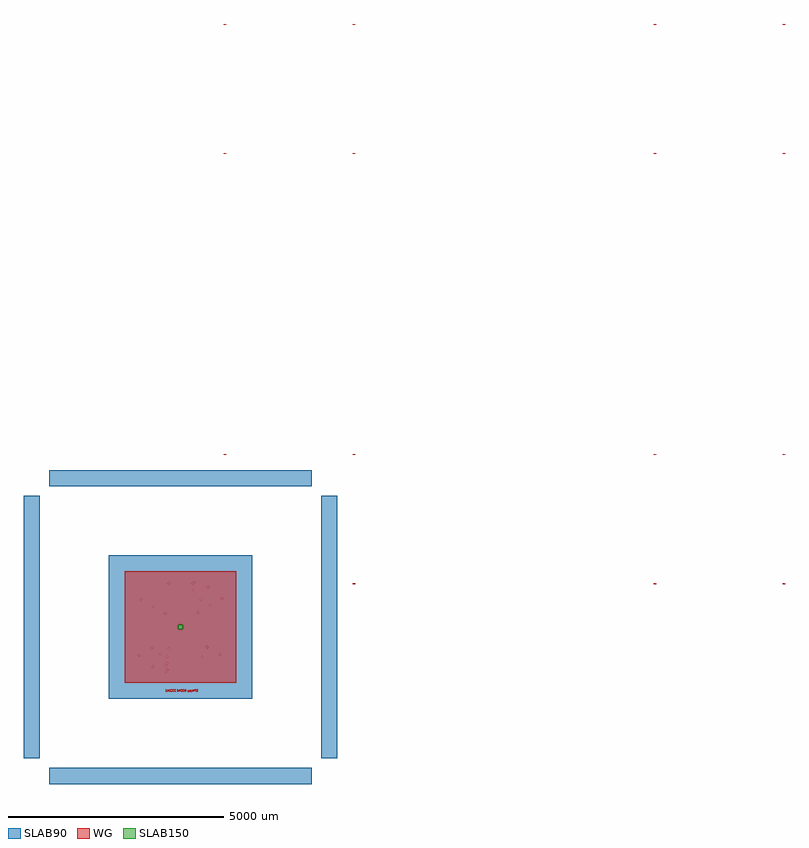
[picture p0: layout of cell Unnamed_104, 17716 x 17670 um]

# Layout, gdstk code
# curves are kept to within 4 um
import gdstk
lib = gdstk.Library(unit=1e-6, precision=1e-09)
def R(c, l, rs):  # rectangles x0, y0, x1, y1
    for r in rs: c.add(gdstk.rectangle(r[:2], r[2:], *l))
def A(c, l, x, y, w, h, nx, ny, dx, dy):  # array of equal rectangles
    R(c, l, [(x+i*dx, y+j*dy, x+i*dx+w, y+j*dy+h) for i in range(nx) for j in range(ny)])
def P(c, l, *ps):  # polygons
    for p in ps: c.add(gdstk.Polygon(p, *l))
WG = (1, 0)
SLAB150 = (2, 0)
SLAB90 = (3, 0)

text_tmdl4_s20_p0_0_jlef = lib.new_cell('text_TMDL4_S20_P0_0_Jleft_L1_0')
P(text_tmdl4_s20_p0_0_jlef, WG, [(36,0),(36,20),(40,20),(40,4),(50,4),(50,0)],
  [(20,0),(20,8),(24,8),(24,4),(28,4),(30,6),(30,14),(28,16),(24,16),(24,12),(20,12),(20,20),(30,20),(34,16),(34,4),(30,0)],
  [(60,0),(60,6),(52,6),(52,20),(56,20),(56,10),(60,10),(60,20),(64,20),(64,10),(66,10),(66,6),(64,6),(64,0)],
  [(2,0),(2,20),(6,20),(10,14),(14,20),(18,20),(18,0),(14,0),(14,12),(10,6),(6,12),(6,0)])

unnamed_118 = lib.new_cell('Unnamed_118')
unnamed_118.add(gdstk.Reference(text_tmdl4_s20_p0_0_jlef, (1000,1000)))
unnamed_118.add(gdstk.Reference(text_tmdl4_s20_p0_0_jlef, (4000,1000)))
unnamed_118.add(gdstk.Reference(text_tmdl4_s20_p0_0_jlef, (1000,4000)))
unnamed_118.add(gdstk.Reference(text_tmdl4_s20_p0_0_jlef, (4000,4000)))

text_tmdl3_s20_p0_0_jlef = lib.new_cell('text_TMDL3_S20_P0_0_Jleft_L1_0')
P(text_tmdl3_s20_p0_0_jlef, WG, [(36,0),(36,20),(40,20),(40,4),(50,4),(50,0)],
  [(20,0),(20,8),(24,8),(24,4),(28,4),(30,6),(30,14),(28,16),(24,16),(24,12),(20,12),(20,20),(30,20),(34,16),(34,4),(30,0)],
  [(56,0),(52,4),(52,6),(56,6),(58,4),(60,4),(62,6),(60,8),(60,12),(62,14),(60,16),(58,16),(56,14),(52,14),(52,16),(56,20),(62,20),(66,16),(66,12),(64,10),(66,8),(66,4),(62,0)],
  [(2,0),(2,20),(6,20),(10,14),(14,20),(18,20),(18,0),(14,0),(14,12),(10,6),(6,12),(6,0)])

unnamed_117 = lib.new_cell('Unnamed_117')
unnamed_117.add(gdstk.Reference(text_tmdl3_s20_p0_0_jlef, (1000,1000)))
unnamed_117.add(gdstk.Reference(text_tmdl3_s20_p0_0_jlef, (4000,1000)))
unnamed_117.add(gdstk.Reference(text_tmdl3_s20_p0_0_jlef, (1000,4000)))
unnamed_117.add(gdstk.Reference(text_tmdl3_s20_p0_0_jlef, (4000,4000)))

text_tmdl2_s20_p0_0_jlef = lib.new_cell('text_TMDL2_S20_P0_0_Jleft_L1_0')
P(text_tmdl2_s20_p0_0_jlef, WG, [(36,0),(36,20),(40,20),(40,4),(50,4),(50,0)],
  [(52,0),(52,4),(62,14),(62,16),(56,16),(56,14),(52,14),(52,18),(54,20),(64,20),(66,18),(66,12),(58,4),(66,4),(66,0)],
  [(20,0),(20,8),(24,8),(24,4),(28,4),(30,6),(30,14),(28,16),(24,16),(24,12),(20,12),(20,20),(30,20),(34,16),(34,4),(30,0)],
  [(2,0),(2,20),(6,20),(10,14),(14,20),(18,20),(18,0),(14,0),(14,12),(10,6),(6,12),(6,0)])

unnamed_116 = lib.new_cell('Unnamed_116')
unnamed_116.add(gdstk.Reference(text_tmdl2_s20_p0_0_jlef, (1000,1000)))
unnamed_116.add(gdstk.Reference(text_tmdl2_s20_p0_0_jlef, (4000,1000)))
unnamed_116.add(gdstk.Reference(text_tmdl2_s20_p0_0_jlef, (1000,4000)))
unnamed_116.add(gdstk.Reference(text_tmdl2_s20_p0_0_jlef, (4000,4000)))

text_tmdl1_s20_p0_0_jlef = lib.new_cell('text_TMDL1_S20_P0_0_Jleft_L1_0')
P(text_tmdl1_s20_p0_0_jlef, WG, [(52,0),(52,4),(54,4),(54,12),(52,12),(52,16),(56,20),(58,20),(58,4),(60,4),(60,0)],
  [(36,0),(36,20),(40,20),(40,4),(50,4),(50,0)],
  [(20,0),(20,8),(24,8),(24,4),(28,4),(30,6),(30,14),(28,16),(24,16),(24,12),(20,12),(20,20),(30,20),(34,16),(34,4),(30,0)],
  [(2,0),(2,20),(6,20),(10,14),(14,20),(18,20),(18,0),(14,0),(14,12),(10,6),(6,12),(6,0)])

unnamed_115 = lib.new_cell('Unnamed_115')
unnamed_115.add(gdstk.Reference(text_tmdl1_s20_p0_0_jlef, (1000,1000)))
unnamed_115.add(gdstk.Reference(text_tmdl1_s20_p0_0_jlef, (4000,1000)))
unnamed_115.add(gdstk.Reference(text_tmdl1_s20_p0_0_jlef, (1000,4000)))
unnamed_115.add(gdstk.Reference(text_tmdl1_s20_p0_0_jlef, (4000,4000)))

unnamed_114 = lib.new_cell('Unnamed_114')
unnamed_114.add(gdstk.Reference(unnamed_118, (10000,10000)))
unnamed_114.add(gdstk.Reference(unnamed_117, (0,10000)))
unnamed_114.add(gdstk.Reference(unnamed_116, (10000,0)))
unnamed_114.add(gdstk.Reference(unnamed_115, (0,0)))

unnamed_124 = lib.new_cell('Unnamed_124')
R(unnamed_124, WG, [(-305,-1490,-265,-1480), (-35,-1490,5,-1480), (285,-1490,325,-1480), (-305,-1470,-265,-1460), (-35,-1470,5,-1460), (285,-1470,325,-1460)])
P(unnamed_124, WG, [(-216.5,-1500),(-214,-1490),(-210,-1490),(-205,-1485),(-205,-1465),(-210,-1460),(-207.5,-1450),(-205,-1450),(-195,-1460),(-195,-1490),(-205,-1500)],
  [(-171.5,-1500),(-169,-1490),(-165,-1490),(-160,-1485),(-160,-1465),(-165,-1460),(-162.5,-1450),(-160,-1450),(-150,-1460),(-150,-1490),(-160,-1500)],
  [(-126.5,-1500),(-124,-1490),(-120,-1490),(-115,-1485),(-115,-1465),(-120,-1460),(-117.5,-1450),(-115,-1450),(-105,-1460),(-105,-1490),(-115,-1500)],
  [(68.5,-1500),(71,-1490),(75,-1490),(80,-1485),(80,-1465),(75,-1460),(77.5,-1450),(80,-1450),(90,-1460),(90,-1490),(80,-1500)],
  [(113.5,-1500),(116,-1490),(120,-1490),(125,-1485),(125,-1465),(120,-1460),(122.5,-1450),(125,-1450),(135,-1460),(135,-1490),(125,-1500)],
  [(-75,-1500),(-75,-1485),(-65,-1485),(-65,-1490),(-55,-1490),(-50,-1485),(-50,-1480),(-55,-1475),(-65,-1475),(-65,-1480),(-75,-1480),(-75,-1450),(-65,-1450),(-65,-1465),(-50,-1465),(-40,-1475),(-40,-1490),(-50,-1500)],
  [(350,-1500),(350,-1485),(330,-1485),(330,-1450),(340,-1450),(340,-1475),(350,-1475),(350,-1450),(360,-1450),(360,-1475),(365,-1475),(365,-1485),(360,-1485),(360,-1500)],
  [(15,-1500),(10,-1495),(10,-1485),(20,-1485),(20,-1490),(35,-1490),(35,-1480),(15,-1480),(10,-1475),(10,-1450),(45,-1450),(45,-1460),(20,-1460),(20,-1470),(40,-1470),(45,-1475),(45,-1495),(40,-1500)],
  [(245,-1515),(245,-1485),(255,-1485),(255,-1490),(265,-1490),(270,-1485),(270,-1480),(265,-1475),(255,-1475),(255,-1480),(245,-1480),(245,-1465),(270,-1465),(280,-1475),(280,-1490),(270,-1500),(255,-1500),(255,-1515)],
  [(-345,-1500),(-345,-1450),(-335,-1450),(-335,-1490),(-310,-1490),(-310,-1500)],
  [(-260,-1500),(-260,-1490),(-255,-1490),(-255,-1470),(-260,-1470),(-260,-1460),(-250,-1450),(-245,-1450),(-245,-1490),(-240,-1490),(-240,-1500)],
  [(375,-1500),(370,-1495),(370,-1480),(375,-1475),(370,-1470),(370,-1455),(375,-1450),(385,-1450),(385,-1460),(380,-1460),(380,-1470),(395,-1470),(395,-1460),(390,-1460),(390,-1450),(400,-1450),(405,-1455),(405,-1470),(400,-1475),(405,-1480),(405,-1495),(400,-1500),(390,-1500),(390,-1490),(395,-1490),(395,-1480),(380,-1480),(380,-1490),(385,-1490),(385,-1500)],
  [(175,-1515),(165,-1505),(190,-1505),(190,-1500),(176.7,-1500),(165,-1490),(165,-1475),(175,-1465),(200,-1465),(200,-1480),(190,-1480),(190,-1475),(180,-1475),(175,-1480),(175,-1485),(180,-1490),(190,-1490),(190,-1485),(200,-1485),(200,-1510),(195,-1515)],
  [(215,-1500),(205,-1490),(205,-1475),(216.7,-1465),(230,-1465),(230,-1461.25),(240,-1461.25),(240,-1480),(230,-1480),(230,-1475),(220,-1475),(215,-1480),(215,-1485),(220,-1490),(230,-1490),(230,-1485),(240,-1485),(240,-1500)],
  [(-225,-1500),(-235,-1490),(-235,-1460),(-225,-1450),(-213.5,-1450),(-216,-1460),(-220,-1460),(-225,-1465),(-225,-1485),(-220,-1490),(-222.5,-1500)],
  [(-180,-1500),(-190,-1490),(-190,-1460),(-180,-1450),(-168.5,-1450),(-171,-1460),(-175,-1460),(-180,-1465),(-180,-1485),(-175,-1490),(-177.5,-1500)],
  [(-135,-1500),(-145,-1490),(-145,-1460),(-135,-1450),(-123.5,-1450),(-126,-1460),(-130,-1460),(-135,-1465),(-135,-1485),(-130,-1490),(-132.5,-1500)],
  [(60,-1500),(50,-1490),(50,-1460),(60,-1450),(71.5,-1450),(69,-1460),(65,-1460),(60,-1465),(60,-1485),(65,-1490),(62.5,-1500)],
  [(105,-1500),(95,-1490),(95,-1460),(105,-1450),(116.5,-1450),(114,-1460),(110,-1460),(105,-1465),(105,-1485),(110,-1490),(107.5,-1500)])

unnamed_123 = lib.new_cell('Unnamed_123')
R(unnamed_123, SLAB90, [(-3050,-3650,3050,-3275), (-3650,-3050,-3275,3050), (3275,-3050,3650,3050), (-1671.72,-1671.72,1671.72,1671.72), (-3050,3275,3050,3650)])

unnamed_122 = lib.new_cell('Unnamed_122')
R(unnamed_122, SLAB150, [(-47.5,-47.5,47.5,47.5)])

unnamed_121 = lib.new_cell('Unnamed_121')
A(unnamed_121, WG, -249, -1300, 48, 48, 10, 20, 50, 50)
A(unnamed_121, WG, -1300, -249, 48, 48, 20, 10, 50, 50)
A(unnamed_121, WG, 302, -249, 48, 48, 20, 10, 50, 50)
A(unnamed_121, WG, -249, 302, 48, 48, 10, 20, 50, 50)
P(unnamed_121, WG, [(675.5,-986.256),(651.5,-944.687),(736.745,-887.912),(815.962,-818.823),(885.45,-739.956),(943.685,-653.231),(985.255,-677.231),(923.47,-769.256),(849.817,-852.85),(765.853,-926.079)],
  [(251,-900),(251,-852),(326.687,-847.217),(404.106,-832.173),(478.888,-807.12),(549.767,-772.48),(573.767,-814.05),(500.119,-850.285),(419.502,-877.746),(335.983,-894.414)],
  [(251,-1050),(251,-1002),(349.339,-995.536),(445.984,-976.249),(539.272,-944.472),(624.767,-902.384),(648.767,-943.953),(557.697,-988.795),(458.447,-1022.603),(355.624,-1043.123)],
  [(251,-850),(251,-802),(320.39,-797.615),(391.368,-783.822),(459.929,-760.854),(524.767,-729.177),(548.767,-770.747),(480.927,-804.116),(406.52,-829.461),(329.435,-844.844)],
  [(251,-650),(251,-602),(340.418,-590.42),(424.765,-555.97),(448.766,-597.54),(352.646,-636.837)],
  [(596.544,-450.5),(554.975,-426.5),(589.964,-342.131),(602,-251),(650,-251),(636.318,-354.593)],
  [(325.5,-380.037),(301.5,-338.468),(321.875,-322.957),(337.451,-303.222),(379.026,-327.225),(355.558,-357.154)],
  [(350.5,-423.339),(326.5,-381.77),(356.961,-358.579),(380.758,-328.225),(422.33,-352.227),(390.644,-392.777)],
  [(251,-1000),(251,-952),(342.792,-945.966),(433.003,-927.963),(520.079,-898.302),(599.767,-859.082),(623.767,-900.652),(538.504,-942.625),(445.465,-974.317),(349.077,-993.553)],
  [(251,-400),(251,-352),(276.236,-348.797),(299.758,-339.452),(323.762,-381.026),(288.23,-395.274)],
  [(375.5,-466.64),(351.5,-425.071),(392.048,-394.202),(424.062,-353.227),(465.634,-377.228),(426.625,-427.514)],
  [(41,-300),(41,-182),(17,-182),(17,-176),(65,-176),(65,-166),(41,-166),(41,-50),(50,-50),(50,-41),(166,-41),(166,-65),(176,-65),(176,-17),(182,-17),(182,-41),(300,-41),(299.91,-253.968),(285.736,-285.561),(253.968,-299.91)],
  [(251,-600),(251,-552),(327.68,-542.07),(399.765,-512.668),(423.765,-554.238),(339.908,-588.486)],
  [(425.5,-553.243),(401.5,-511.674),(463.302,-464.377),(510.668,-403.229),(552.238,-427.229),(497.157,-498.403)],
  [(450.5,-596.544),(426.5,-554.975),(498.568,-499.821),(553.97,-428.229),(595.54,-452.23),(532.423,-533.848)],
  [(509.941,-400.5),(468.372,-376.5),(493.393,-316.168),(502,-251),(550,-251),(539.747,-328.63)],
  [(-352.227,-422.33),(-392.777,-390.644),(-423.339,-350.5),(-381.77,-326.5),(-358.579,-356.961),(-328.225,-380.758)],
  [(466.64,-375.5),(425.071,-351.5),(445.108,-303.186),(452,-251),(500,-251),(491.462,-315.649)],
  [(423.339,-350.5),(381.77,-326.5),(396.822,-290.205),(402,-251),(450,-251),(443.176,-302.667)],
  [(300.5,-336.736),(276.5,-295.167),(294.133,-278.212),(335.719,-302.222),(320.114,-321.882)],
  [(-549.767,772.48),(-573.767,814.05),(-506.16,847.738),(-381.229,886.802),(-251,900),(-251,852),(-326.687,847.217),(-404.106,832.173),(-478.888,807.12)],
  [(-677.231,-985.255),(-769.256,-923.47),(-852.85,-849.817),(-926.079,-765.853),(-986.256,-675.5),(-944.687,-651.5),(-887.912,-736.745),(-818.823,-815.962),(-739.956,-885.45),(-653.231,-943.685)],
  [(899.653,-625.5),(858.084,-601.5),(898.302,-520.079),(927.963,-433.003),(945.966,-342.792),(952,-251),(1000,-251),(993.553,-349.077),(974.317,-445.465),(942.625,-538.504)],
  [(-450,251),(-443.176,302.667),(-423.339,350.5),(-381.77,326.5),(-396.822,290.205),(-402,251)],
  [(251,-1150),(251,-1102),(362.433,-1094.675),(471.948,-1072.82),(577.657,-1036.812),(674.767,-988.986),(698.767,-1030.555),(596.082,-1081.135),(484.41,-1119.174),(368.719,-1142.262)],
  [(251,-700),(251,-652),(353.156,-638.771),(449.765,-599.272),(473.766,-640.842),(365.384,-685.187)],
  [(-727.446,-523.767),(-759.004,-459.171),(-781.888,-390.859),(-795.275,-322.888),(-800,-251),(-752,-251),(-747.688,-316.603),(-735.472,-378.631),(-714.588,-440.97),(-685.876,-499.766)],
  [(625.5,-899.653),(601.5,-858.084),(676.103,-808.397),(745.43,-747.934),(806.243,-678.912),(857.082,-603.231),(898.652,-627.231),(844.263,-708.213),(779.285,-781.96),(705.211,-846.564)],
  [(-39,-300),(-39,-184),(-15,-184),(-15,-174),(-63,-174),(-63,-168),(-39,-168),(-39,-50),(39,-50),(39,-168),(63,-168),(63,-174),(15,-174),(15,-184),(39,-184),(39,-300)],
  [(-251,-1050),(-355.624,-1043.123),(-458.447,-1022.603),(-557.697,-988.795),(-650.5,-942.955),(-626.5,-901.385),(-539.272,-944.472),(-445.984,-976.249),(-349.339,-995.536),(-251,-1002)],
  [(251,-1300),(251,-1152),(341.861,-1147.41),(427.335,-1134.579),(511.186,-1113.618),(596.85,-1082.982),(674.977,-1046.015),(749.203,-1001.733),(818.844,-950.542),(886.494,-889.712),(944.77,-825.882),(999.207,-752.988),(1043.864,-678.987),(1082.982,-596.85),(1113.618,-511.186),(1134.579,-427.335),(1147.41,-341.861),(1152,-251),(1300,-251),(1300,-1300)],
  [(986.256,-675.5),(944.687,-651.5),(990.642,-558.465),(1024.534,-458.966),(1045.106,-355.886),(1052,-251),(1100,-251),(1092.692,-362.171),(1070.888,-471.428),(1034.965,-576.889)],
  [(683.147,-500.5),(641.577,-476.5),(686.535,-368.094),(702,-251),(750,-251),(745.705,-316.341),(732.889,-380.557),(711.776,-442.542)],
  [(639.845,-475.5),(598.276,-451.5),(638.25,-355.113),(652,-251),(700,-251),(684.604,-367.575)],
  [(251,-1100),(251,-1052),(355.886,-1045.106),(458.966,-1024.534),(558.465,-990.642),(649.767,-945.685),(673.767,-987.254),(576.889,-1034.965),(471.428,-1070.888),(362.171,-1092.692)],
  [(-251,-1000),(-349.077,-993.553),(-445.465,-974.317),(-538.504,-942.625),(-625.5,-899.653),(-601.5,-858.084),(-520.079,-898.302),(-433.003,-927.963),(-342.792,-945.966),(-251,-952)],
  [(-251,-800),(-322.888,-795.275),(-393.538,-781.175),(-461.734,-757.946),(-525.5,-726.448),(-501.5,-684.879),(-443.309,-713.623),(-381.076,-734.821),(-316.603,-747.688),(-251,-752)],
  [(-702.231,-1028.556),(-799.778,-963.073),(-888.294,-885.084),(-965.836,-796.174),(-1029.557,-700.5),(-987.987,-676.5),(-927.669,-767.066),(-854.267,-851.228),(-770.477,-925.054),(-678.231,-986.986)],
  [(475.5,-639.845),(451.5,-598.276),(533.834,-535.266),(597.272,-453.23),(638.841,-477.23),(567.689,-569.293)],
  [(601.5,858.084),(520.079,898.302),(433.003,927.963),(342.792,945.966),(251,952),(251,1000),(393.875,986.249),(531.503,945.494),(625.5,899.653)],
  [(-857.35,-598.767),(-896.455,-519.312),(-926.032,-432.483),(-943.984,-342.53),(-950,-251),(-902,-251),(-896.397,-336.244),(-879.678,-420.021),(-853.387,-497.848),(-815.781,-574.767)],
  [(-650,251),(-636.318,354.593),(-596.544,450.5),(-554.975,426.5),(-589.964,342.131),(-602,251)],
  [(-627.231,-898.652),(-708.213,-844.263),(-781.96,-779.285),(-846.564,-705.211),(-899.653,-625.5),(-858.084,-601.5),(-808.397,-676.103),(-747.934,-745.43),(-678.912,-806.243),(-603.231,-857.082)],
  [(-251,-300),(-282.264,-288.73),(-299.147,-260.104),(-300,-41),(-182,-41),(-182,-17),(-176,-17),(-176,-65),(-166,-65),(-166,-41),(-50,-41),(-50,-50),(-41,-50),(-41,-166),(-65,-166),(-65,-176),(-17,-176),(-17,-182),(-41,-182),(-41,-300)],
  [(-554.238,-423.765),(-588.486,-339.908),(-600,-251),(-552,-251),(-542.07,-327.68),(-512.668,-399.765)],
  [(-683.875,503.23),(-725.445,527.23),(-699.031,568.288),(-620.136,657.376),(-525.5,726.448),(-501.5,684.879),(-554.818,649.368),(-604.366,606.155),(-647.828,556.826)],
  [(-381.026,-323.762),(-395.274,-288.23),(-400,-251),(-352,-251),(-348.797,-276.236),(-339.452,-299.758)],
  [(-510.936,-398.765),(-540.136,-327.171),(-550,-251),(-502,-251),(-493.719,-314.943),(-469.366,-374.764)],
  [(-467.634,-373.764),(-491.785,-314.433),(-500,-251),(-452,-251),(-445.369,-302.205),(-426.062,-349.763)],
  [(813.051,-575.5),(771.481,-551.5),(805.962,-481.694),(831.392,-407.039),(846.827,-329.697),(852,-251),(900,-251),(894.414,-335.983),(877.746,-419.502),(850.285,-500.119)],
  [(-597.54,-448.766),(-636.837,-352.646),(-650,-251),(-602,-251),(-590.42,-340.418),(-555.97,-424.765)],
  [(502,251),(493.719,314.943),(469.366,374.764),(510.936,398.765),(540.136,327.171),(550,251)],
  [(-327.225,-379.026),(-357.154,-355.558),(-380.037,-325.5),(-338.468,-301.5),(-322.957,-321.875),(-303.222,-337.451)],
  [(-251,-400),(-289.685,-394.891),(-325.5,-380.037),(-301.5,-338.468),(-277.223,-348.537),(-251,-352)],
  [(-402.229,-508.937),(-462.959,-461.891),(-509.941,-400.5),(-468.372,-376.5),(-428.932,-428.035),(-378.228,-467.365)],
  [(302,251),(296.133,274.748),(337.719,298.758),(346.86,275.737),(350,251)],
  [(-943.685,653.231),(-985.255,677.231),(-912.863,782.736),(-802.546,896.447),(-675.5,986.256),(-651.5,944.687),(-736.745,887.912),(-815.962,818.823),(-885.45,739.956)],
  [(-251,-550),(-328.63,-539.747),(-400.5,-509.941),(-376.5,-468.372),(-316.168,-493.393),(-251,-502)],
  [(-427.229,-552.238),(-498.403,-497.157),(-553.243,-425.5),(-511.674,-401.5),(-464.377,-463.302),(-403.229,-510.668)],
  [(-452.23,-595.54),(-533.848,-532.423),(-596.544,-450.5),(-554.975,-426.5),(-499.821,-498.568),(-428.229,-553.97)],
  [(952,251),(945.966,342.792),(927.963,433.003),(898.302,520.079),(859.082,599.767),(900.652,623.767),(959.999,492.505),(993.048,352.826),(1000,251)],
  [(-477.23,-638.841),(-569.293,-567.689),(-639.845,-475.5),(-598.276,-451.5),(-535.266,-533.834),(-453.23,-597.272)],
  [(-684.144,-498.766),(-712.737,-440.212),(-733.538,-378.121),(-746.029,-313.842),(-750,-251),(-702,-251),(-687.121,-365.893),(-642.574,-474.766)],
  [(-900.652,-623.767),(-942.625,-538.504),(-974.317,-445.465),(-993.553,-349.077),(-1000,-251),(-952,-251),(-945.966,-342.792),(-927.963,-433.003),(-898.302,-520.079),(-859.082,-599.767)],
  [(-987.254,-673.767),(-1034.965,-576.889),(-1070.888,-471.428),(-1092.692,-362.171),(-1100,-251),(-1052,-251),(-1045.106,-355.886),(-1024.534,-458.966),(-990.642,-558.465),(-945.685,-649.767)],
  [(-39,50),(-39,168),(-63,168),(-63,174),(-15,174),(-15,184),(-39,184),(-39,300),(39,300),(39,184),(15,184),(15,174),(63,174),(63,168),(39,168),(39,50)],
  [(856.352,-600.5),(814.783,-576.5),(852.132,-500.887),(879.678,-420.021),(896.397,-336.244),(902,-251),(950,-251),(943.984,-342.53),(926.032,-432.483),(896.455,-519.312)],
  [(-1030.555,-698.767),(-1081.135,-596.082),(-1119.174,-484.41),(-1142.262,-368.719),(-1150,-251),(-1102,-251),(-1094.675,-362.433),(-1072.82,-471.948),(-1036.812,-577.657),(-988.986,-674.767)],
  [(-527.23,-725.445),(-586.127,-685.848),(-640.182,-638.221),(-687.535,-583.926),(-726.448,-525.5),(-684.879,-501.5),(-649.368,-554.818),(-606.155,-604.366),(-556.826,-647.828),(-503.23,-683.875)],
  [(500.5,-683.147),(476.5,-641.577),(569.1,-570.71),(640.573,-478.23),(682.143,-502.23),(646.244,-555.605),(602.955,-604.737),(553.605,-647.778)],
  [(-577.231,-812.048),(-647.17,-765.055),(-711.071,-708.753),(-767.05,-644.569),(-813.051,-575.5),(-771.481,-551.5),(-728.883,-615.46),(-677.044,-674.898),(-617.869,-727.036),(-553.23,-770.478)],
  [(295.167,276.5),(278.212,294.133),(302.222,335.719),(321.882,320.114),(336.736,300.5)],
  [(-652.231,-941.953),(-738.735,-883.866),(-817.405,-814.551),(-886.322,-735.532),(-942.955,-650.5),(-901.385,-626.5),(-848.155,-706.424),(-783.378,-780.696),(-709.434,-845.847),(-628.231,-900.384)],
  [(251,-550),(251,-502),(314.943,-493.719),(374.764,-469.366),(398.765,-510.936),(327.171,-540.136)],
  [(-770.747,-548.767),(-804.116,-480.927),(-829.461,-406.52),(-844.844,-329.435),(-850,-251),(-802,-251),(-797.615,-320.39),(-783.822,-391.368),(-760.854,-459.929),(-729.177,-524.767)],
  [(-251,-1100),(-362.171,-1092.692),(-471.428,-1070.888),(-576.889,-1034.965),(-675.5,-986.256),(-651.5,-944.687),(-558.465,-990.642),(-458.966,-1024.534),(-355.886,-1045.106),(-251,-1052)],
  [(-251,-1150),(-368.719,-1142.262),(-484.41,-1119.174),(-596.082,-1081.135),(-700.5,-1029.557),(-676.5,-987.987),(-577.657,-1036.812),(-471.948,-1072.82),(-362.433,-1094.675),(-251,-1102)],
  [(-251,-450),(-302.667,-443.176),(-350.5,-423.339),(-326.5,-381.77),(-290.205,-396.822),(-251,-402)],
  [(-350,251),(-346.605,276.704),(-336.736,300.5),(-295.167,276.5),(-302,251)],
  [(476.5,641.577),(368.094,686.535),(251,702),(251,750),(360.985,737.73),(467.833,700.428),(500.5,683.147)],
  [(-424.33,-348.763),(-443.435,-301.696),(-450,-251),(-402,-251),(-397.211,-288.73),(-382.758,-324.762)],
  [(-182,17),(-182,41),(-300,41),(-299.99,251.99),(-294.915,272.737),(-279.117,291.131),(-256.188,299.725),(-41,300),(-41,182),(-17,182),(-17,176),(-65,176),(-65,166),(-41,166),(-41,50),(-50,50),(-50,41),(-166,41),(-166,65),(-176,65),(-176,17)],
  [(553.243,-425.5),(511.674,-401.5),(541.679,-329.149),(552,-251),(600,-251),(588.033,-341.612)],
  [(-553.97,428.229),(-595.54,452.23),(-591.046,459.735),(-529.551,536.676),(-450.5,596.544),(-426.5,554.975),(-498.568,499.821)],
  [(-380.758,328.225),(-422.33,352.227),(-390.644,392.777),(-350.5,423.339),(-326.5,381.77),(-356.961,358.579)],
  [(575.5,-813.051),(551.5,-771.481),(615.46,-728.883),(674.898,-677.044),(727.036,-617.869),(770.478,-553.23),(812.048,-577.231),(765.055,-647.17),(708.753,-711.071),(644.569,-767.05)],
  [(380.037,-325.5),(338.468,-301.5),(348.537,-277.223),(352,-251),(400,-251),(394.891,-289.685)],
  [(-550,251),(-539.747,328.63),(-509.941,400.5),(-468.372,376.5),(-493.393,316.168),(-502,251)],
  [(1029.557,-700.5),(987.987,-676.5),(1036.812,-577.657),(1072.82,-471.948),(1094.675,-362.433),(1102,-251),(1150,-251),(1142.262,-368.719),(1119.174,-484.41),(1081.135,-596.082)],
  [(-510.668,403.229),(-552.238,427.229),(-497.157,498.403),(-425.5,553.243),(-401.5,511.674),(-463.302,464.377)],
  [(-1150,251),(-1142.262,368.719),(-1119.174,484.41),(-1081.135,596.082),(-1029.557,700.5),(-987.987,676.5),(-1036.812,577.657),(-1072.82,471.948),(-1094.675,362.433),(-1102,251)],
  [(-850,251),(-844.844,329.435),(-829.461,406.52),(-804.116,480.927),(-769.749,550.5),(-728.18,526.5),(-759.792,462.502),(-783.106,394.058),(-797.257,323.15),(-802,251)],
  [(-500,251),(-491.462,315.649),(-466.64,375.5),(-425.071,351.5),(-445.108,303.186),(-452,251)],
  [(251,-500),(251,-452),(302.205,-445.369),(349.763,-426.062),(373.764,-467.634),(314.433,-491.785)],
  [(251,-350),(251,-302),(274.748,-296.133),(298.758,-337.719),(275.737,-346.86)],
  [(-294.133,278.212),(-335.719,302.222),(-320.114,321.882),(-300.5,336.736),(-276.5,295.167)],
  [(-424.765,555.97),(-448.766,597.54),(-440.53,602.113),(-348.743,637.844),(-251,650),(-251,602),(-340.418,590.42)],
  [(600.5,-856.352),(576.5,-814.783),(645.781,-768.64),(710.164,-712.489),(766.639,-648.391),(813.78,-578.23),(855.35,-602.231),(804.659,-677.692),(744.019,-746.516),(674.89,-806.807)],
  [(-424.062,353.227),(-465.634,377.228),(-426.625,427.514),(-375.5,466.64),(-351.5,425.071),(-392.048,394.202)],
  [(-467.365,378.228),(-508.937,402.229),(-461.891,462.959),(-400.5,509.941),(-376.5,468.372),(-428.035,428.932)],
  [(-349.763,426.062),(-373.764,467.634),(-314.433,491.785),(-251,500),(-251,452),(-302.205,445.369)],
  [(-814.05,-573.767),(-850.285,-500.119),(-877.746,-419.502),(-894.414,-335.983),(-900,-251),(-852,-251),(-847.217,-326.687),(-832.173,-404.106),(-807.12,-478.888),(-772.48,-549.767)],
  [(-1000,251),(-993.553,349.077),(-974.317,445.465),(-942.625,538.504),(-899.653,625.5),(-858.084,601.5),(-898.302,520.079),(-927.963,433.003),(-945.966,342.792),(-952,251)],
  [(-950,251),(-943.984,342.53),(-926.032,432.483),(-896.455,519.312),(-856.352,600.5),(-814.783,576.5),(-852.132,500.887),(-879.678,420.021),(-896.397,336.244),(-902,251)],
  [(-900,251),(-894.414,335.983),(-877.746,419.502),(-850.285,500.119),(-813.051,575.5),(-771.481,551.5),(-805.962,481.694),(-831.392,407.039),(-846.827,329.697),(-852,251)],
  [(-599.767,859.082),(-623.767,900.652),(-531.503,945.494),(-393.875,986.249),(-251,1000),(-251,952),(-342.792,945.966),(-433.003,927.963),(-520.079,898.302)],
  [(598.276,451.5),(535.266,533.834),(453.23,597.272),(477.23,638.841),(561.194,575.625),(627.605,495.48),(639.845,475.5)],
  [(-574.767,815.781),(-598.767,857.35),(-519.312,896.455),(-387.801,936.485),(-251,950),(-251,902),(-336.244,896.397),(-420.021,879.678),(-497.848,853.387)],
  [(-1300,-1300),(-1300,-251),(-1152,-251),(-1137.961,-409.449),(-1096.274,-562.959),(-1028.24,-706.746),(-933.015,-839.78),(-866.849,-908.674),(-793.762,-970.177),(-710.666,-1025.928),(-626.043,-1070.237),(-537.204,-1105.338),(-440.702,-1131.806),(-346.387,-1146.939),(-251,-1152),(-251,-1300)],
  [(700.5,-1029.557),(676.5,-987.987),(767.066,-927.669),(851.228,-854.267),(925.054,-770.477),(986.986,-678.231),(1028.556,-702.231),(963.073,-799.778),(885.084,-888.294),(796.174,-965.836)],
  [(-524.767,729.177),(-548.767,770.747),(-492.054,799.358),(-374.158,837.204),(-251,850),(-251,802),(-320.39,797.615),(-391.368,783.822),(-459.929,760.854)],
  [(-499.766,685.876),(-523.767,727.446),(-479.522,750.18),(-369.299,787.105),(-251,800),(-251,752),(-316.603,747.688),(-378.631,735.472),(-440.97,714.588)],
  [(-251,-750),(-316.341,-745.705),(-380.557,-732.889),(-442.542,-711.776),(-500.5,-683.147),(-476.5,-641.577),(-368.094,-686.535),(-251,-702)],
  [(-649.767,945.685),(-673.767,987.254),(-556.989,1042.944),(-404.524,1086.006),(-251,1100),(-251,1052),(-355.886,1045.106),(-458.966,1024.534),(-558.465,990.642)],
  [(-857.082,603.231),(-898.652,627.231),(-841.946,711.204),(-743.309,815.479),(-625.5,899.653),(-601.5,858.084),(-676.103,808.397),(-745.43,747.934),(-806.243,678.912)],
  [(-251,-650),(-354.593,-636.318),(-450.5,-596.544),(-426.5,-554.975),(-342.131,-589.964),(-251,-602)],
  [(-770.478,553.23),(-812.048,577.231),(-770.999,639.336),(-682.499,735.78),(-575.5,813.051),(-551.5,771.481),(-615.46,728.883),(-674.898,677.044),(-727.036,617.869)],
  [(-640.573,478.23),(-682.143,502.23),(-662.549,533.187),(-590.231,616.957),(-500.5,683.147),(-476.5,641.577),(-569.1,570.71)],
  [(-474.766,642.574),(-498.766,684.144),(-467.833,700.428),(-360.985,737.73),(-251,750),(-251,702),(-365.893,687.121)],
  [(552,251),(542.07,327.68),(512.668,399.765),(554.238,423.765),(588.486,339.908),(600,251)],
  [(-449.765,599.272),(-473.766,640.842),(-454.236,651.371),(-354.383,687.937),(-251,700),(-251,652),(-353.156,638.771)],
  [(-251,-700),(-367.575,-684.604),(-475.5,-639.845),(-451.5,-598.276),(-355.113,-638.25),(-251,-652)],
  [(-1100,251),(-1092.692,362.171),(-1070.888,471.428),(-1034.965,576.889),(-986.256,675.5),(-944.687,651.5),(-990.642,558.465),(-1024.534,458.966),(-1045.106,355.886),(-1052,251)],
  [(-377.228,-465.634),(-427.514,-426.625),(-466.64,-375.5),(-425.071,-351.5),(-394.202,-392.048),(-353.227,-424.062)],
  [(554.975,426.5),(499.821,498.568),(428.229,553.97),(452.23,595.54),(530.991,535.266),(592.096,458.015),(596.544,450.5)],
  [(-1050,251),(-1043.123,355.624),(-1022.603,458.447),(-988.795,557.697),(-942.955,650.5),(-901.385,626.5),(-944.472,539.272),(-976.249,445.984),(-995.536,349.339),(-1002,251)],
  [(858.084,601.5),(808.397,676.103),(747.934,745.43),(678.912,806.243),(603.231,857.082),(627.231,898.652),(743.309,815.479),(841.946,711.204),(899.653,625.5)],
  [(426.5,554.975),(342.131,589.964),(251,602),(251,650),(348.743,637.844),(440.53,602.113),(450.5,596.544)],
  [(-674.767,988.986),(-698.767,1030.555),(-570.77,1091.21),(-413.565,1135.182),(-251,1150),(-251,1102),(-362.433,1094.675),(-471.948,1072.82),(-577.657,1036.812)],
  [(176,17),(176,65),(166,65),(166,41),(50,41),(50,50),(41,50),(41,166),(65,166),(65,176),(17,176),(17,182),(41,182),(41,300),(256.434,299.698),(279.319,290.988),(295.239,272.069),(299.99,251.99),(300,41),(182,41),(182,17)],
  [(276.5,295.167),(251,302),(251,350),(276.704,346.605),(300.5,336.736)],
  [(351.5,425.071),(303.186,445.108),(251,452),(251,500),(315.649,491.462),(375.5,466.64)],
  [(902,251),(896.397,336.244),(879.678,420.021),(853.387,497.848),(815.781,574.767),(857.35,598.767),(913.799,473.038),(944.437,339.028),(950,251)],
  [(-900.384,628.231),(-941.953,652.231),(-876.403,748.268),(-773.125,855.806),(-650.5,942.955),(-626.5,901.385),(-706.424,848.155),(-780.696,783.378),(-845.847,709.434)],
  [(-251,-850),(-329.435,-844.844),(-406.52,-829.461),(-480.927,-804.116),(-550.5,-769.749),(-526.5,-728.18),(-462.502,-759.792),(-394.058,-783.106),(-323.15,-797.257),(-251,-802)],
  [(944.687,651.5),(887.912,736.745),(818.823,815.962),(739.956,885.45),(653.231,943.685),(677.231,985.255),(805.799,893.653),(912.863,782.736),(986.256,675.5)],
  [(702,251),(687.121,365.893),(642.574,474.766),(684.144,498.766),(728.743,395.099),(748.754,286.256),(750,251)],
  [(-750,251),(-745.705,316.341),(-732.889,380.557),(-711.776,442.542),(-683.147,500.5),(-641.577,476.5),(-686.535,368.094),(-702,251)],
  [(-1300,251),(-1300,1300),(-251,1300),(-251,1152),(-341.861,1147.41),(-427.335,1134.579),(-511.186,1113.618),(-596.85,1082.982),(-674.977,1046.015),(-749.203,1001.733),(-818.844,950.542),(-886.494,889.712),(-944.77,825.882),(-999.207,752.988),(-1043.864,678.987),(-1082.982,596.85),(-1113.618,511.186),(-1134.579,427.335),(-1147.41,341.861),(-1152,251)],
  [(-400,251),(-394.891,289.685),(-380.037,325.5),(-338.468,301.5),(-348.537,277.223),(-352,251)],
  [(942.955,-650.5),(901.385,-626.5),(944.472,-539.272),(976.249,-445.984),(995.536,-349.339),(1002,-251),(1050,-251),(1043.123,-355.624),(1022.603,-458.447),(988.795,-557.697)],
  [(-251,-600),(-341.612,-588.033),(-425.5,-553.243),(-401.5,-511.674),(-329.149,-541.679),(-251,-552)],
  [(1002,251),(995.536,349.339),(976.249,445.984),(944.472,539.272),(902.384,624.767),(943.953,648.767),(1006.018,512.444),(1041.447,367.614),(1050,251)],
  [(-251,-900),(-335.983,-894.414),(-419.502,-877.746),(-500.119,-850.285),(-575.5,-813.051),(-551.5,-771.481),(-481.694,-805.962),(-407.039,-831.392),(-329.697,-846.827),(-251,-852)],
  [(-727.177,528.23),(-768.747,552.231),(-734.533,604.551),(-651.511,696.415),(-550.5,769.749),(-526.5,728.18),(-585.139,689.125),(-639.632,641.6),(-687.432,587.348)],
  [(-640.842,-473.766),(-685.187,-365.384),(-700,-251),(-652,-251),(-638.771,-353.156),(-599.272,-449.765)],
  [(251,-800),(251,-752),(316.603,-747.688),(378.631,-735.472),(440.97,-714.588),(499.766,-685.876),(523.767,-727.446),(459.171,-759.004),(390.859,-781.888),(322.888,-795.275)],
  [(852,251),(847.217,326.687),(832.173,404.106),(807.12,478.888),(772.48,549.767),(814.05,573.767),(867.422,454.045),(895.628,326.224),(900,251)],
  [(468.372,376.5),(428.932,428.035),(378.228,467.365),(402.229,508.937),(462.959,461.891),(509.941,400.5)],
  [(-251,-350),(-276.704,-346.605),(-300.5,-336.736),(-276.5,-295.167),(-251,-302)],
  [(802,251),(797.615,320.39),(783.822,391.368),(760.854,459.929),(729.177,524.767),(770.747,548.767),(820.871,435.526),(846.635,314.415),(850,251)],
  [(-800,251),(-795.275,322.888),(-781.175,393.538),(-757.946,461.734),(-726.448,525.5),(-684.879,501.5),(-713.623,443.309),(-734.821,381.076),(-747.688,316.603),(-752,251)],
  [(-986.986,678.231),(-1028.556,702.231),(-948.989,817.584),(-835.028,934.46),(-700.5,1029.557),(-676.5,987.987),(-767.066,927.669),(-851.228,854.267),(-925.054,770.477)],
  [(1152,251),(1137.961,409.449),(1096.274,562.959),(1028.24,706.746),(933.015,839.78),(866.849,908.674),(793.762,970.177),(710.666,1025.928),(626.043,1070.237),(537.204,1105.338),(440.702,1131.806),(346.387,1146.939),(251,1152),(251,1300),(1300,1300),(1300,251)],
  [(338.468,301.5),(322.957,321.875),(303.222,337.451),(327.225,379.026),(357.154,355.558),(380.037,325.5)],
  [(251,-950),(251,-902),(336.244,-896.397),(420.021,-879.678),(497.848,-853.387),(574.767,-815.781),(598.767,-857.35),(519.312,-896.455),(432.483,-926.032),(342.53,-943.984)],
  [(752,251),(747.688,316.603),(735.472,378.631),(714.588,440.97),(685.876,499.766),(727.446,523.767),(774.984,414.839),(797.734,300.843),(800,251)],
  [(376.5,468.372),(316.168,493.393),(251,502),(251,550),(328.63,539.747),(400.5,509.941)],
  [(-602.231,-855.35),(-677.692,-804.659),(-746.516,-744.019),(-806.807,-674.89),(-856.352,-600.5),(-814.783,-576.5),(-768.64,-645.781),(-712.489,-710.164),(-648.391,-766.639),(-578.23,-813.78)],
  [(-251,-950),(-342.53,-943.984),(-432.483,-926.032),(-519.312,-896.455),(-600.5,-856.352),(-576.5,-814.783),(-500.887,-852.132),(-420.021,-879.678),(-336.244,-896.397),(-251,-902)],
  [(-600,251),(-588.033,341.612),(-553.243,425.5),(-511.674,401.5),(-541.679,329.149),(-552,251)],
  [(769.749,-550.5),(728.18,-526.5),(759.792,-462.502),(783.106,-394.058),(797.257,-323.15),(802,-251),(850,-251),(844.844,-329.435),(829.461,-406.52),(804.116,-480.927)],
  [(-251,-500),(-315.649,-491.462),(-375.5,-466.64),(-351.5,-425.071),(-303.186,-445.108),(-251,-452)],
  [(987.987,676.5),(927.669,767.066),(854.267,851.228),(770.477,925.054),(678.231,986.986),(702.231,1028.556),(835.028,934.46),(948.989,817.584),(1029.557,700.5)],
  [(-502.23,-682.143),(-555.605,-646.244),(-604.737,-602.955),(-647.778,-553.605),(-683.147,-500.5),(-641.577,-476.5),(-570.71,-569.1),(-478.23,-640.573)],
  [(728.18,526.5),(689.125,585.139),(641.6,639.632),(587.348,687.432),(528.23,727.177),(552.231,768.747),(653.755,694.386),(736.313,602.105),(769.749,550.5)],
  [(425.071,351.5),(394.202,392.048),(353.227,424.062),(377.228,465.634),(427.514,426.625),(466.64,375.5)],
  [(326.5,381.77),(290.205,396.822),(251,402),(251,450),(302.667,443.176),(350.5,423.339)],
  [(602,251),(590.42,340.418),(555.97,424.765),(597.54,448.766),(635.79,356.538),(649.92,259.061),(650,251)],
  [(400.5,-509.941),(376.5,-468.372),(428.035,-428.932),(467.365,-378.228),(508.937,-402.229),(461.891,-462.959)],
  [(651.5,944.687),(558.465,990.642),(458.966,1024.534),(355.886,1045.106),(251,1052),(251,1100),(404.524,1086.006),(556.989,1042.944),(675.5,986.256)],
  [(550.5,-769.749),(526.5,-728.18),(585.139,-689.125),(639.632,-641.6),(687.432,-587.348),(727.177,-528.23),(768.747,-552.231),(725.452,-616.648),(673.487,-675.627),(614.247,-727.292)],
  [(452,251),(445.369,302.205),(426.062,349.763),(467.634,373.764),(491.785,314.433),(500,251)],
  [(-813.78,578.23),(-855.35,602.231),(-804.659,677.692),(-710.445,777.797),(-600.5,856.352),(-576.5,814.783),(-645.781,768.64),(-710.164,712.489),(-766.639,648.391)],
  [(401.5,511.674),(329.149,541.679),(251,552),(251,600),(341.612,588.033),(425.5,553.243)],
  [(402,251),(397.211,288.73),(382.758,324.762),(424.33,348.763),(443.435,301.696),(450,251)],
  [(652,251),(638.771,353.156),(599.272,449.765),(640.842,473.766),(682.16,376.311),(699.429,273.668),(700,251)],
  [(501.5,684.879),(443.309,713.623),(381.076,734.821),(316.603,747.688),(251,752),(251,800),(369.299,787.105),(479.522,750.18),(525.5,726.448)],
  [(814.783,576.5),(768.64,645.781),(712.489,710.164),(648.391,766.639),(578.23,813.78),(602.231,855.35),(713.099,775.469),(806.807,674.89),(856.352,600.5)],
  [(381.77,326.5),(358.579,356.961),(328.225,380.758),(352.227,422.33),(392.777,390.644),(423.339,350.5)],
  [(-337.719,-298.758),(-346.86,-275.737),(-350,-251),(-302,-251),(-296.133,-274.748)],
  [(-399.765,512.668),(-423.765,554.238),(-339.908,588.486),(-251,600),(-251,552),(-327.68,542.07)],
  [(626.5,901.385),(539.272,944.472),(445.984,976.249),(349.339,995.536),(251,1002),(251,1050),(399.449,1036.091),(546.483,993.358),(650.5,942.955)],
  [(451.5,598.276),(355.113,638.25),(251,652),(251,700),(354.383,687.937),(454.236,651.371),(475.5,639.845)],
  [(-324.762,382.758),(-348.763,424.33),(-301.696,443.435),(-251,450),(-251,402),(-288.73,397.211)],
  [(-700,251),(-684.604,367.575),(-639.845,475.5),(-598.276,451.5),(-638.25,355.113),(-652,251)],
  [(336.736,-300.5),(295.167,-276.5),(302,-251),(350,-251),(346.605,-276.704)],
  [(551.5,771.481),(481.694,805.962),(407.039,831.392),(329.697,846.827),(251,852),(251,900),(381.229,886.802),(506.16,847.738),(575.5,813.051)],
  [(526.5,728.18),(462.502,759.792),(394.058,783.106),(323.15,797.257),(251,802),(251,850),(374.158,837.204),(492.054,799.358),(550.5,769.749)],
  [(-374.764,469.366),(-398.765,510.936),(-327.171,540.136),(-251,550),(-251,502),(-314.943,493.719)],
  [(641.577,476.5),(570.71,569.1),(478.23,640.573),(502.23,682.143),(592.075,615.239),(663.969,531.105),(683.147,500.5)],
  [(726.448,-525.5),(684.879,-501.5),(713.623,-443.309),(734.821,-381.076),(747.688,-316.603),(752,-251),(800,-251),(795.275,-322.888),(781.175,-393.538),(757.946,-461.734)],
  [(-597.272,453.23),(-638.841,477.23),(-626.366,497.379),(-559.551,577.188),(-475.5,639.845),(-451.5,598.276),(-533.834,535.266)],
  [(168,-63),(168,-39),(50,-39),(50,39),(168,39),(168,63),(174,63),(174,15),(184,15),(184,39),(300,39),(300,-39),(184,-39),(184,-15),(174,-15),(174,-63)],
  [(511.674,401.5),(464.377,463.302),(403.229,510.668),(427.229,552.238),(498.403,497.157),(553.243,425.5)],
  [(901.385,626.5),(848.155,706.424),(783.378,780.696),(709.434,845.847),(628.231,900.384),(652.231,941.953),(776.173,853.161),(878.907,745.103),(942.955,650.5)],
  [(-552.231,-768.747),(-616.648,-725.452),(-675.627,-673.487),(-727.292,-614.247),(-769.749,-550.5),(-728.18,-526.5),(-689.125,-585.139),(-641.6,-639.632),(-587.348,-687.432),(-528.23,-727.177)],
  [(576.5,814.783),(500.887,852.132),(420.021,879.678),(336.244,896.397),(251,902),(251,950),(387.801,936.485),(519.312,896.455),(600.5,856.352)],
  [(771.481,551.5),(728.883,615.46),(677.044,674.898),(617.869,727.036),(553.23,770.478),(577.231,812.048),(682.499,735.78),(770.999,639.336),(813.051,575.5)],
  [(-174,-63),(-174,-15),(-184,-15),(-184,-39),(-300,-39),(-300,39),(-184,39),(-184,15),(-174,15),(-174,63),(-168,63),(-168,39),(-50,39),(-50,-39),(-168,-39),(-168,-63)],
  [(684.879,501.5),(649.368,554.818),(606.155,604.366),(556.826,647.828),(503.23,683.875),(527.23,725.445),(622.184,655.506),(700.627,566.021),(726.448,525.5)],
  [(-302.222,-335.719),(-321.882,-320.114),(-336.736,-300.5),(-295.167,-276.5),(-278.212,-294.133)],
  [(-337.451,303.222),(-379.026,327.225),(-355.558,357.154),(-325.5,380.037),(-301.5,338.468),(-321.875,322.957)],
  [(1102,251),(1094.675,362.433),(1072.82,471.948),(1036.812,577.657),(988.986,674.767),(1030.555,698.767),(1099.017,549.452),(1139.005,391.187),(1150,251)],
  [(650.5,-942.955),(626.5,-901.385),(706.424,-848.155),(780.696,-783.378),(845.847,-709.434),(900.384,-628.231),(941.953,-652.231),(883.866,-738.735),(814.551,-817.405),(735.532,-886.322)],
  [(-943.953,-648.767),(-988.795,-557.697),(-1022.603,-458.447),(-1043.123,-355.624),(-1050,-251),(-1002,-251),(-995.536,-349.339),(-976.249,-445.984),(-944.472,-539.272),(-902.384,-624.767)],
  [(-299.758,339.452),(-323.762,381.026),(-288.23,395.274),(-251,400),(-251,352),(-276.236,348.797)],
  [(251,-750),(251,-702),(365.893,-687.121),(474.766,-642.574),(498.766,-684.144),(440.212,-712.737),(378.121,-733.538),(313.842,-746.029)],
  [(301.5,338.468),(277.223,348.537),(251,352),(251,400),(289.685,394.891),(325.5,380.037)],
  [(676.5,987.987),(577.657,1036.812),(471.948,1072.82),(362.433,1094.675),(251,1102),(251,1150),(413.565,1135.182),(570.77,1091.21),(700.5,1029.557)],
  [(1052,251),(1045.106,355.886),(1024.534,458.966),(990.642,558.465),(945.685,649.767),(987.254,673.767),(1051.852,532.853),(1090.275,379.152),(1100,251)],
  [(251,-450),(251,-402),(288.73,-397.211),(324.762,-382.758),(348.763,-424.33),(301.696,-443.435)],
  [(525.5,-726.448),(501.5,-684.879),(554.818,-649.368),(604.366,-606.155),(647.828,-556.826),(683.875,-503.23),(725.445,-527.23),(685.848,-586.127),(638.221,-640.182),(583.926,-687.535)],
  [(-624.767,902.384),(-648.767,943.953),(-542.729,994.841),(-399.449,1036.091),(-251,1050),(-251,1002),(-349.339,995.536),(-445.984,976.249),(-539.272,944.472)],
  [(352,251),(348.797,276.236),(339.452,299.758),(381.026,323.762),(395.274,288.23),(400,251)],
  [(-274.748,296.133),(-298.758,337.719),(-275.737,346.86),(-251,350),(-251,302)])

unnamed_104 = lib.new_cell('Unnamed_104')
unnamed_104.add(gdstk.Reference(unnamed_114, (0,0)))
unnamed_104.add(gdstk.Reference(unnamed_124, (0,0)))
unnamed_104.add(gdstk.Reference(unnamed_123, (0,0)))
unnamed_104.add(gdstk.Reference(unnamed_122, (0,0)))
unnamed_104.add(gdstk.Reference(unnamed_121, (0,0)))

lib.write_gds('Unnamed_104.gds')
